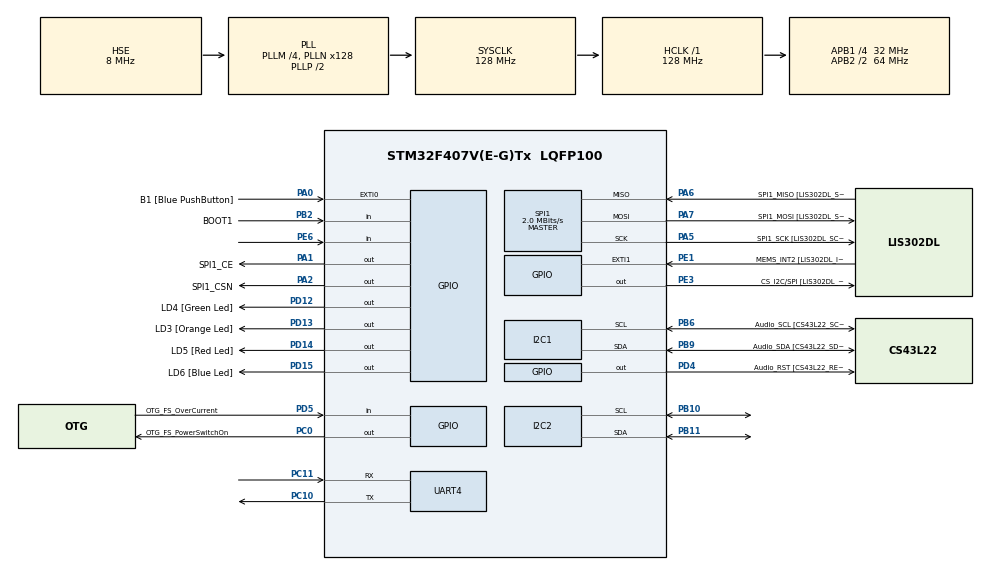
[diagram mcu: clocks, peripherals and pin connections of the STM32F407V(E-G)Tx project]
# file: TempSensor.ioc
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Dma.I2C1_RX.0.Direction=DMA_PERIPH_TO_MEMORY
Dma.I2C1_RX.0.FIFOMode=DMA_FIFOMODE_DISABLE
Dma.I2C1_RX.0.Instance=DMA1_Stream0
Dma.I2C1_RX.0.MemDataAlignment=DMA_MDATAALIGN_BYTE
Dma.I2C1_RX.0.MemInc=DMA_MINC_ENABLE
Dma.I2C1_RX.0.Mode=DMA_NORMAL
Dma.I2C1_RX.0.PeriphDataAlignment=DMA_PDATAALIGN_BYTE
Dma.I2C1_RX.0.PeriphInc=DMA_PINC_DISABLE
Dma.I2C1_RX.0.Priority=DMA_PRIORITY_LOW
Dma.I2C1_TX.1.Direction=DMA_MEMORY_TO_PERIPH
Dma.I2C1_TX.1.FIFOMode=DMA_FIFOMODE_DISABLE
Dma.I2C1_TX.1.Instance=DMA1_Stream6
Dma.I2C1_TX.1.MemDataAlignment=DMA_MDATAALIGN_BYTE
Dma.I2C1_TX.1.MemInc=DMA_MINC_ENABLE
Dma.I2C1_TX.1.Mode=DMA_NORMAL
Dma.I2C1_TX.1.PeriphDataAlignment=DMA_PDATAALIGN_BYTE
Dma.I2C1_TX.1.PeriphInc=DMA_PINC_DISABLE
Dma.I2C1_TX.1.Priority=DMA_PRIORITY_LOW
Dma.I2C2_RX.2.Direction=DMA_PERIPH_TO_MEMORY
Dma.I2C2_RX.2.FIFOMode=DMA_FIFOMODE_DISABLE
Dma.I2C2_RX.2.Instance=DMA1_Stream2
Dma.I2C2_RX.2.MemDataAlignment=DMA_MDATAALIGN_BYTE
Dma.I2C2_RX.2.MemInc=DMA_MINC_ENABLE
Dma.I2C2_RX.2.Mode=DMA_NORMAL
Dma.I2C2_RX.2.PeriphDataAlignment=DMA_PDATAALIGN_BYTE
Dma.I2C2_RX.2.PeriphInc=DMA_PINC_DISABLE
Dma.I2C2_RX.2.Priority=DMA_PRIORITY_LOW
Dma.I2C2_TX.3.Direction=DMA_MEMORY_TO_PERIPH
Dma.I2C2_TX.3.FIFOMode=DMA_FIFOMODE_DISABLE
Dma.I2C2_TX.3.Instance=DMA1_Stream7
Dma.I2C2_TX.3.MemDataAlignment=DMA_MDATAALIGN_BYTE
Dma.I2C2_TX.3.MemInc=DMA_MINC_ENABLE
Dma.I2C2_TX.3.Mode=DMA_NORMAL
Dma.I2C2_TX.3.PeriphDataAlignment=DMA_PDATAALIGN_BYTE
Dma.I2C2_TX.3.PeriphInc=DMA_PINC_DISABLE
Dma.I2C2_TX.3.Priority=DMA_PRIORITY_LOW
Dma.Request0=I2C1_RX
Dma.Request1=I2C1_TX
Dma.Request2=I2C2_RX
Dma.Request3=I2C2_TX
Dma.Request4=SPI1_RX
Dma.Request5=SPI1_TX
Dma.SPI1_RX.4.Direction=DMA_PERIPH_TO_MEMORY
Dma.SPI1_RX.4.FIFOMode=DMA_FIFOMODE_DISABLE
Dma.SPI1_RX.4.Instance=DMA2_Stream0
Dma.SPI1_RX.4.MemDataAlignment=DMA_MDATAALIGN_BYTE
Dma.SPI1_RX.4.MemInc=DMA_MINC_ENABLE
Dma.SPI1_RX.4.Mode=DMA_NORMAL
Dma.SPI1_RX.4.PeriphDataAlignment=DMA_PDATAALIGN_BYTE
Dma.SPI1_RX.4.PeriphInc=DMA_PINC_DISABLE
Dma.SPI1_RX.4.Priority=DMA_PRIORITY_LOW
Dma.SPI1_TX.5.Direction=DMA_MEMORY_TO_PERIPH
Dma.SPI1_TX.5.FIFOMode=DMA_FIFOMODE_DISABLE
Dma.SPI1_TX.5.Instance=DMA2_Stream3
Dma.SPI1_TX.5.MemDataAlignment=DMA_MDATAALIGN_BYTE
Dma.SPI1_TX.5.MemInc=DMA_MINC_ENABLE
Dma.SPI1_TX.5.Mode=DMA_NORMAL
Dma.SPI1_TX.5.PeriphDataAlignment=DMA_PDATAALIGN_BYTE
Dma.SPI1_TX.5.PeriphInc=DMA_PINC_DISABLE
Dma.SPI1_TX.5.Priority=DMA_PRIORITY_LOW
FREERTOS.HEAP_NUMBER=1
FREERTOS.INCLUDE_vTaskDelayUntil=1
FREERTOS.Tasks01=defaultTask,0,256,StartDefaultTask,Default,NULL,Dynamic,NULL,NULL
Mcu.Family=STM32F4
Mcu.Name=STM32F407V(E-G)Tx
Mcu.Package=LQFP100
NVIC.DMA1_Stream0_IRQn=true\:5\:0\:false\:false\:true\:true\:false\:true
NVIC.DMA1_Stream2_IRQn=true\:5\:0\:false\:false\:true\:true\:false\:true
NVIC.DMA1_Stream6_IRQn=true\:5\:0\:false\:false\:true\:true\:false\:true
NVIC.DMA1_Stream7_IRQn=true\:5\:0\:false\:false\:true\:true\:false\:true
NVIC.DMA2_Stream0_IRQn=true\:5\:0\:false\:false\:true\:true\:false\:true
NVIC.DMA2_Stream3_IRQn=true\:5\:0\:false\:false\:true\:true\:false\:true
NVIC.I2C1_ER_IRQn=true\:5\:0\:false\:false\:true\:true\:true\:true
NVIC.I2C1_EV_IRQn=true\:5\:0\:false\:false\:true\:true\:true\:true
NVIC.I2C2_ER_IRQn=true\:5\:0\:false\:false\:true\:true\:true\:true
NVIC.I2C2_EV_IRQn=true\:5\:0\:false\:false\:true\:true\:true\:true
NVIC.PriorityGroup=NVIC_PRIORITYGROUP_4
NVIC.SPI1_IRQn=true\:5\:0\:false\:false\:true\:true\:true\:true
NVIC.TIM1_UP_TIM10_IRQn=true\:0\:0\:false\:false\:true\:false\:false\:true
NVIC.TimeBase=TIM1_UP_TIM10_IRQn
NVIC.TimeBaseIP=TIM1
PA0-WKUP.GPIO_Label=B1 [Blue PushButton]
PA0-WKUP.GPIO_ModeDefaultEXTI=GPIO_MODE_EVT_RISING
PA0-WKUP.GPIO_PuPd=GPIO_NOPULL
PA0-WKUP.Signal=GPXTI0
PA1.GPIO_Label=SPI1_CE
PA1.Signal=GPIO_Output
PA10.GPIO_Label=OTG_FS_ID
PA10.GPIO_Mode=GPIO_MODE_AF_PP
PA10.GPIO_PuPd=GPIO_NOPULL
PA10.GPIO_Speed=GPIO_SPEED_FREQ_LOW
PA10.Signal=USB_OTG_FS_ID
PA11.GPIO_Label=OTG_FS_DM
PA11.GPIO_Mode=GPIO_MODE_AF_PP
PA11.GPIO_PuPd=GPIO_NOPULL
PA11.GPIO_Speed=GPIO_SPEED_FREQ_LOW
PA11.Signal=USB_OTG_FS_DM
PA12.GPIO_Label=OTG_FS_DP
PA12.GPIO_Mode=GPIO_MODE_AF_PP
PA12.GPIO_PuPd=GPIO_NOPULL
PA12.GPIO_Speed=GPIO_SPEED_FREQ_LOW
PA12.Signal=USB_OTG_FS_DP
PA13.GPIO_Label=SWDIO
PA13.Mode=Serial_Wire
PA13.Signal=SYS_JTMS-SWDIO
PA14.GPIO_Label=SWCLK
PA14.Mode=Serial_Wire
PA14.Signal=SYS_JTCK-SWCLK
PA2.GPIO_Label=SPI1_CSN
PA2.Signal=GPIO_Output
PA4.GPIO_Label=I2S3_WS [CS43L22_LRCK]
PA4.GPIO_Mode=GPIO_MODE_AF_PP
PA4.GPIO_PuPd=GPIO_NOPULL
PA4.GPIO_Speed=GPIO_SPEED_FREQ_LOW
PA4.Signal=I2S3_WS
PA5.GPIO_Label=SPI1_SCK [LIS302DL_SCL/SPC]
PA5.GPIO_Mode=GPIO_MODE_AF_PP
PA5.GPIO_PuPd=GPIO_NOPULL
PA5.GPIO_Speed=GPIO_SPEED_FREQ_LOW
PA5.Mode=Full_Duplex_Master
PA5.Signal=SPI1_SCK
PA6.GPIO_Label=SPI1_MISO [LIS302DL_SDO]
PA6.GPIO_Mode=GPIO_MODE_AF_PP
PA6.GPIO_PuPd=GPIO_NOPULL
PA6.GPIO_Speed=GPIO_SPEED_FREQ_LOW
PA6.Mode=Full_Duplex_Master
PA6.Signal=SPI1_MISO
PA7.GPIO_Label=SPI1_MOSI [LIS302DL_SDA/SDI/SDO]
PA7.GPIO_Mode=GPIO_MODE_AF_PP
PA7.GPIO_PuPd=GPIO_NOPULL
PA7.GPIO_Speed=GPIO_SPEED_FREQ_LOW
PA7.Mode=Full_Duplex_Master
PA7.Signal=SPI1_MOSI
PA9.GPIO_Label=VBUS_FS
PA9.GPIO_Mode=GPIO_MODE_INPUT
PA9.GPIO_PuPd=GPIO_NOPULL
PA9.Signal=USB_OTG_FS_VBUS
PB10.Mode=I2C
PB10.Signal=I2C2_SCL
PB11.Mode=I2C
PB11.Signal=I2C2_SDA
PB2.GPIO_Label=BOOT1
PB2.GPIO_Mode=GPIO_MODE_INPUT
PB2.GPIO_PuPd=GPIO_NOPULL
PB2.Signal=GPIO_Input
PB3.GPIO_Label=SWO
PB3.Signal=SYS_JTDO-SWO
PB6.GPIO_Label=Audio_SCL [CS43L22_SCL]
PB6.GPIO_Mode=GPIO_MODE_AF_OD
PB6.GPIO_PuPd=GPIO_NOPULL
PB6.GPIO_Speed=GPIO_SPEED_FREQ_LOW
PB6.Mode=I2C
PB6.Signal=I2C1_SCL
PB9.GPIO_Label=Audio_SDA [CS43L22_SDA]
PB9.GPIO_Mode=GPIO_MODE_AF_OD
PB9.GPIO_PuPd=GPIO_NOPULL
PB9.GPIO_Speed=GPIO_SPEED_FREQ_LOW
PB9.Mode=I2C
PB9.Signal=I2C1_SDA
PC0.GPIO_Label=OTG_FS_PowerSwitchOn
PC0.GPIO_PuPd=GPIO_NOPULL
PC0.GPIO_Speed=GPIO_SPEED_FREQ_LOW
PC0.PinState=GPIO_PIN_SET
PC0.Signal=GPIO_Output
PC10.Mode=Asynchronous
PC10.Signal=UART4_TX
PC11.Mode=Asynchronous
PC11.Signal=UART4_RX
PC14-OSC32_IN.GPIO_Label=PC14-OSC32_IN
PC14-OSC32_IN.Mode=LSE-External-Oscillator
PC14-OSC32_IN.Signal=RCC_OSC32_IN
PC15-OSC32_OUT.GPIO_Label=PC15-OSC32_OUT
PC15-OSC32_OUT.Mode=LSE-External-Oscillator
PC15-OSC32_OUT.Signal=RCC_OSC32_OUT
PC3.GPIO_Label=PDM_OUT [MP45DT02_DOUT]
PC3.GPIO_Mode=GPIO_MODE_AF_PP
PC3.GPIO_PuPd=GPIO_NOPULL
PC3.GPIO_Speed=GPIO_SPEED_FREQ_LOW
PC3.Signal=I2S2_SD
PC7.GPIO_Label=I2S3_MCK [CS43L22_MCLK]
PC7.GPIO_Mode=GPIO_MODE_AF_PP
PC7.GPIO_PuPd=GPIO_NOPULL
PC7.GPIO_Speed=GPIO_SPEED_FREQ_LOW
PC7.Signal=I2S3_MCK
PD12.GPIO_Label=LD4 [Green Led]
PD12.GPIO_PuPd=GPIO_NOPULL
PD12.GPIO_Speed=GPIO_SPEED_FREQ_LOW
PD12.Signal=GPIO_Output
PD13.GPIO_Label=LD3 [Orange Led]
PD13.GPIO_PuPd=GPIO_NOPULL
PD13.GPIO_Speed=GPIO_SPEED_FREQ_LOW
PD13.Signal=GPIO_Output
PD14.GPIO_Label=LD5 [Red Led]
PD14.GPIO_PuPd=GPIO_NOPULL
PD14.GPIO_Speed=GPIO_SPEED_FREQ_LOW
PD14.Signal=GPIO_Output
PD15.GPIO_Label=LD6 [Blue Led]
PD15.GPIO_PuPd=GPIO_NOPULL
PD15.GPIO_Speed=GPIO_SPEED_FREQ_LOW
PD15.Signal=GPIO_Output
PD4.GPIO_Label=Audio_RST [CS43L22_RESET]
PD4.GPIO_PuPd=GPIO_NOPULL
PD4.GPIO_Speed=GPIO_SPEED_FREQ_LOW
PD4.Signal=GPIO_Output
PD5.GPIO_Label=OTG_FS_OverCurrent
PD5.GPIO_Mode=GPIO_MODE_INPUT
PD5.GPIO_PuPd=GPIO_NOPULL
PD5.Signal=GPIO_Input
PE1.GPIO_Label=MEMS_INT2 [LIS302DL_INT2]
PE1.GPIO_ModeDefaultEXTI=GPIO_MODE_EVT_RISING
PE1.GPIO_PuPd=GPIO_NOPULL
PE1.Signal=GPXTI1
PE3.GPIO_Label=CS_I2C/SPI [LIS302DL_CS_I2C/SPI]
PE3.GPIO_PuPd=GPIO_NOPULL
PE3.GPIO_Speed=GPIO_SPEED_FREQ_LOW
PE3.Signal=GPIO_Output
PE6.Signal=GPIO_Input
PH0-OSC_IN.GPIO_Label=PH0-OSC_IN
PH0-OSC_IN.Mode=HSE-External-Oscillator
PH0-OSC_IN.Signal=RCC_OSC_IN
PH1-OSC_OUT.GPIO_Label=PH1-OSC_OUT
PH1-OSC_OUT.Mode=HSE-External-Oscillator
PH1-OSC_OUT.Signal=RCC_OSC_OUT
ProjectManager.HeapSize=0x400
ProjectManager.StackSize=0x800
ProjectManager.TargetToolchain=Other Toolchains (GPDSC)
RCC.48MHZClocksFreq_Value=36571428.571428575
RCC.AHBFreq_Value=128000000
RCC.APB1CLKDivider=RCC_HCLK_DIV4
RCC.APB1Freq_Value=32000000
RCC.APB1TimFreq_Value=64000000
RCC.APB2CLKDivider=RCC_HCLK_DIV2
RCC.APB2Freq_Value=64000000
RCC.APB2TimFreq_Value=128000000
RCC.CortexFreq_Value=128000000
RCC.HCLKFreq_Value=128000000
RCC.HSE_VALUE=8000000
RCC.HSI_VALUE=16000000
RCC.PLLM=4
RCC.PLLN=128
RCC.PLLQ=7
RCC.PLLSourceVirtual=RCC_PLLSOURCE_HSE
RCC.SYSCLKFreq_VALUE=128000000
RCC.SYSCLKSource=RCC_SYSCLKSOURCE_PLLCLK
RCC.VCOOutputFreq_Value=256000000
SPI1.BaudRatePrescaler=SPI_BAUDRATEPRESCALER_32
SPI1.CalculateBaudRate=2.0 MBits/s
SPI1.Direction=SPI_DIRECTION_2LINES
SPI1.Mode=SPI_MODE_MASTER
SPI1.VirtualType=VM_MASTER
UART4.VirtualMode=Asynchronous
VP_FREERTOS_VS_CMSIS_V1.Mode=CMSIS_V1
VP_SYS_VS_tim1.Mode=TIM1
board=STM32F407G-DISC1

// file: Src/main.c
/* USER CODE BEGIN Header */
/**
  ******************************************************************************
  * @file           : main.c
  * @brief          : Main program body
  ******************************************************************************
  * @attention
  *
  * <h2><center>&copy; Copyright (c) 2019 STMicroelectronics.
  * All rights reserved.</center></h2>
  *
  * This software component is licensed by ST under Ultimate Liberty license
  * SLA0044, the "License"; You may not use this file except in compliance with
  * the License. You may obtain a copy of the License at:
  *                             www.st.com/SLA0044
  *
  ******************************************************************************
  */
/* USER CODE END Header */

#include "main.h"
#include "cmsis_os.h"
#include "dma.h"
#include "i2c.h"
#include "spi.h"
#include "usart.h"
#include "gpio.h"

void SystemClock_Config(void);
void MX_FREERTOS_Init(void);

int main(void)
{

  /* MCU Configuration--------------------------------------------------------*/

  /* Reset of all peripherals, Initializes the Flash interface and the Systick. */
  HAL_Init();

  /* Configure the system clock */
  SystemClock_Config();

  /* Initialize all configured peripherals */
  MX_GPIO_Init();
  MX_DMA_Init();
  MX_I2C1_Init();
  MX_SPI1_Init();
  MX_I2C2_Init();
  MX_UART4_Init();

  /* Call init function for freertos objects (in freertos.c) */
  MX_FREERTOS_Init();

  /* Start scheduler */
  osKernelStart();

  /* We should never get here as control is now taken by the scheduler */

  /* Infinite loop */
  while (1)
  {

  }
}

void SystemClock_Config(void)
{
  RCC_OscInitTypeDef RCC_OscInitStruct = {0};
  RCC_ClkInitTypeDef RCC_ClkInitStruct = {0};

  /** Configure the main internal regulator output voltage
  */
  __HAL_RCC_PWR_CLK_ENABLE();
  __HAL_PWR_VOLTAGESCALING_CONFIG(PWR_REGULATOR_VOLTAGE_SCALE1);
  /** Initializes the CPU, AHB and APB busses clocks
  */
  RCC_OscInitStruct.OscillatorType = RCC_OSCILLATORTYPE_HSE;
  RCC_OscInitStruct.HSEState = RCC_HSE_ON;
  RCC_OscInitStruct.PLL.PLLState = RCC_PLL_ON;
  RCC_OscInitStruct.PLL.PLLSource = RCC_PLLSOURCE_HSE;
  RCC_OscInitStruct.PLL.PLLM = 4;
  RCC_OscInitStruct.PLL.PLLN = 128;
  RCC_OscInitStruct.PLL.PLLP = RCC_PLLP_DIV2;
  RCC_OscInitStruct.PLL.PLLQ = 7;
  if (HAL_RCC_OscConfig(&RCC_OscInitStruct) != HAL_OK)
  {
    Error_Handler();
  }
  /** Initializes the CPU, AHB and APB busses clocks
  */
  RCC_ClkInitStruct.ClockType = RCC_CLOCKTYPE_HCLK|RCC_CLOCKTYPE_SYSCLK
                              |RCC_CLOCKTYPE_PCLK1|RCC_CLOCKTYPE_PCLK2;
  RCC_ClkInitStruct.SYSCLKSource = RCC_SYSCLKSOURCE_PLLCLK;
  RCC_ClkInitStruct.AHBCLKDivider = RCC_SYSCLK_DIV1;
  RCC_ClkInitStruct.APB1CLKDivider = RCC_HCLK_DIV4;
  RCC_ClkInitStruct.APB2CLKDivider = RCC_HCLK_DIV2;

  if (HAL_RCC_ClockConfig(&RCC_ClkInitStruct, FLASH_LATENCY_4) != HAL_OK)
  {
    Error_Handler();
  }
}

void HAL_TIM_PeriodElapsedCallback(TIM_HandleTypeDef *htim)
{
  if (htim->Instance == TIM1) {
    HAL_IncTick();
  }
}

void Error_Handler(void)
{
}

/************************ (C) COPYRIGHT STMicroelectronics *****END OF FILE****/

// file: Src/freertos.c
/* USER CODE BEGIN Header */
/**
  ******************************************************************************
  * File Name          : freertos.c
  * Description        : Code for freertos applications
  ******************************************************************************
  * @attention
  *
  * <h2><center>&copy; Copyright (c) 2019 STMicroelectronics.
  * All rights reserved.</center></h2>
  *
  * This software component is licensed by ST under Ultimate Liberty license
  * SLA0044, the "License"; You may not use this file except in compliance with
  * the License. You may obtain a copy of the License at:
  *                             www.st.com/SLA0044
  *
  ******************************************************************************
  */
/* USER CODE END Header */

#include "FreeRTOS.h"
#include "task.h"
#include "main.h"
#include "cmsis_os.h"

/* USER CODE BEGIN Includes */
#include "i2c.h"
#include "usart.h"
#include "spi.h"

#include "NRF24.h"
#include "RTCTask.h"
#include "Sensor.h"
#include "Display.h"

/* USER CODE END Includes */

/* USER CODE BEGIN Variables */
osThreadId displayTaskHandle;
osThreadId sensorTaskHandle;
osThreadId rtcTaskHandle;
osThreadId nrfTaskHandle;

char Time[20] = "init";
char myRxData[50];

float Temp = 10;
float Humidity = 10;

//char myRxData[50];

DisplayStruct ds;
SensorStruct ss;

/* USER CODE END Variables */
osThreadId defaultTaskHandle;

void StartDefaultTask(void const * argument);

void MX_FREERTOS_Init(void); /* (MISRA C 2004 rule 8.1) */

/* GetIdleTaskMemory prototype (linked to static allocation support) */
void vApplicationGetIdleTaskMemory( StaticTask_t **ppxIdleTaskTCBBuffer, StackType_t **ppxIdleTaskStackBuffer, uint32_t *pulIdleTaskStackSize );

/* USER CODE BEGIN GET_IDLE_TASK_MEMORY */
static StaticTask_t xIdleTaskTCBBuffer;
static StackType_t xIdleStack[configMINIMAL_STACK_SIZE];

void vApplicationGetIdleTaskMemory( StaticTask_t **ppxIdleTaskTCBBuffer, StackType_t **ppxIdleTaskStackBuffer, uint32_t *pulIdleTaskStackSize )
{
  *ppxIdleTaskTCBBuffer = &xIdleTaskTCBBuffer;
  *ppxIdleTaskStackBuffer = &xIdleStack[0];
  *pulIdleTaskStackSize = configMINIMAL_STACK_SIZE;
  /* place for user code */
}
/* USER CODE END GET_IDLE_TASK_MEMORY */

void MX_FREERTOS_Init(void) {

  /* Create the thread(s) */
  /* definition and creation of defaultTask */
  osThreadDef(defaultTask, StartDefaultTask, osPriorityNormal, 0, 256);
  defaultTaskHandle = osThreadCreate(osThread(defaultTask), NULL);

  /* USER CODE BEGIN RTOS_THREADS */
  /* add threads, ... */
  ss.humidity = &Humidity;
  ss.temperature = &Temp;
  osThreadDef(sensorTask, StartSensorTask, osPriorityNormal, 0, 256);
  sensorTaskHandle = osThreadCreate(osThread(sensorTask), (void*)&ss);

  ds.i2c = &hi2c1;
  ds.humidity = &Humidity;
  ds.temperature = &Temp;
  ds.time = Time;
  ds.outside = myRxData;
  osThreadDef(displayTask, StartDisplayTask, osPriorityNormal, 0, 256);
  displayTaskHandle = osThreadCreate(osThread(displayTask), (void*)&ds);

  osThreadDef(rtcTask, StartRTCTask, osPriorityNormal, 0, 256);
  rtcTaskHandle = osThreadCreate(osThread(rtcTask), (void*)Time);

  osThreadDef(nrfTask, StartNRFTask, osPriorityNormal, 0, 256);
  nrfTaskHandle = osThreadCreate(osThread(nrfTask), (void*)myRxData);

  /* USER CODE END RTOS_THREADS */

}

void StartDefaultTask(void const * argument)
{
  /* USER CODE BEGIN StartDefaultTask */
	  /* USER CODE BEGIN 5 */
	osDelay(1000);

  /* Infinite loop */
	for (;;)
	{
		osDelay(1000);
	}

  /* USER CODE END StartDefaultTask */
}

/************************ (C) COPYRIGHT STMicroelectronics *****END OF FILE****/
